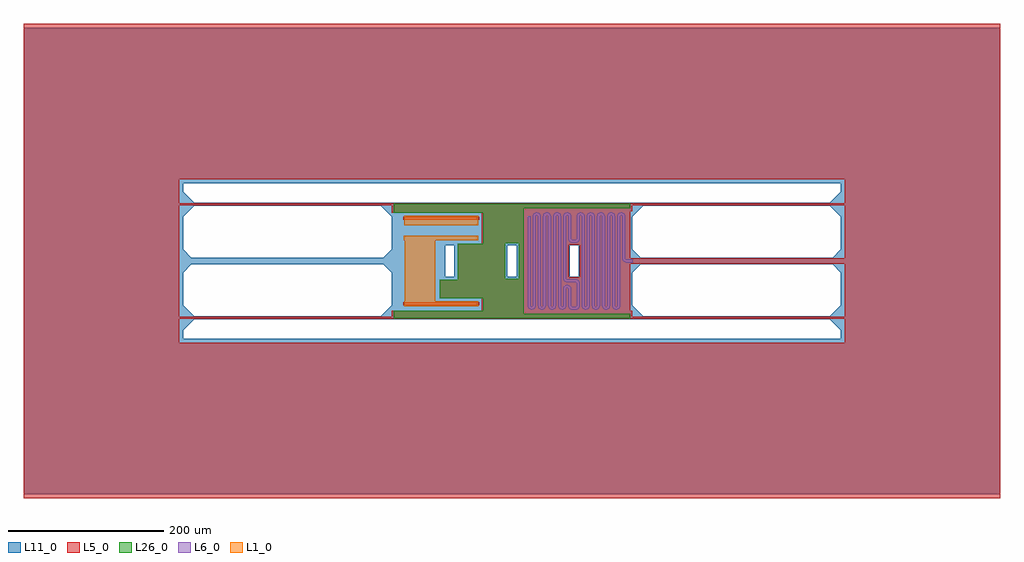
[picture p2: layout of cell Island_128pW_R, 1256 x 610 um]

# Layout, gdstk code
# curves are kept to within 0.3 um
from math import pi, radians
import gdstk
lib = gdstk.Library(unit=1e-6, precision=1e-09)
def R(c, l, rs):  # rectangles x0, y0, x1, y1
    for r in rs: c.add(gdstk.rectangle(r[:2], r[2:], *l))
def A(c, l, x, y, w, h, nx, ny, dx, dy):  # array of equal rectangles
    R(c, l, [(x+i*dx, y+j*dy, x+i*dx+w, y+j*dy+h) for i in range(nx) for j in range(ny)])
def P(c, l, *ps):  # polygons
    for p in ps: c.add(gdstk.Polygon(p, *l))
L1_0 = (1, 0)
L5_0 = (5, 0)
L6_0 = (6, 0)
L11_0 = (11, 0)
L26_0 = (26, 0)

bolo_tescell_al_1_6_at = lib.new_cell('Bolo_TEScell_Al_1_6_AT')
R(bolo_tescell_al_1_6_at, L1_0, [(43.66,-58,138.66,-52), (98.66,-52,138.16,26.5), (43.66,26.5,139.16,32.5), (43.66,46,138.66,58)])

new_res_4um = lib.new_cell('New_Res_4um')
A(new_res_4um, L6_0, -139.3, -57.5, 4, 115, 8, 1, 6.5, 0)
A(new_res_4um, L6_0, -56.8, -57.5, 4, 115, 6, 1, 6.5, 0)
R(new_res_4um, L6_0, [(-82.12,-62.75,-77.48,-58.75), (-76.3,-57.58,-72.3,-35.7), (-69.8,-57.54,-65.8,-35.71), (-87.3,-57.53,-83.3,-28.67), (-63.3,-57.48,-59.3,57.52), (-82.09,-27.49,-71.03,-23.49), (-69.8,-22.3,-65.8,57.49), (-155.5,-2,-147.1,2), (-145.8,3.36,-141.8,57.5), (-82.1,23.5,-77.5,27.5), (-87.3,28.7,-83.3,57.5), (-76.3,28.7,-72.3,57.5)])
P(new_res_4um, L6_0, [(-126.3,57.48),(-127.5,58.75),(-128.75,58.25),(-128.8,57.48),(-132.8,57.48),(-132,60.25),(-131,61.5),(-128.25,62.75),(-126.75,62.75),(-124,61.5),(-122.5,59),(-122.3,57.48)],
  [(-122.3,-57.49),(-122.25,-58.25),(-121,-58.75),(-120,-58.25),(-119.8,-57.49),(-115.8,-57.49),(-116.5,-60.25),(-117.5,-61.5),(-120.25,-62.75),(-121.75,-62.75),(-124.5,-61.5),(-126,-59),(-126.3,-57.49)],
  [(-30.8,57.48),(-32,58.75),(-33.25,58.25),(-33.3,57.48),(-37.3,57.48),(-36.5,60.25),(-35.5,61.5),(-32.75,62.75),(-31.25,62.75),(-28.5,61.5),(-27,59),(-26.8,57.48)],
  [(-26.8,-57.49),(-26.75,-58.25),(-25.5,-58.75),(-24.5,-58.25),(-24.3,-57.49),(-20.3,-57.49),(-21,-60.25),(-22,-61.5),(-24.75,-62.75),(-26.25,-62.75),(-29,-61.5),(-30.5,-59),(-30.8,-57.49)],
  [(-43.8,57.48),(-45,58.75),(-46.25,58.25),(-46.3,57.48),(-50.3,57.48),(-49.5,60.25),(-48.5,61.5),(-45.75,62.75),(-44.25,62.75),(-41.5,61.5),(-40,59),(-39.8,57.48)],
  [(-39.8,-57.49),(-39.75,-58.25),(-38.5,-58.75),(-37.5,-58.25),(-37.3,-57.49),(-33.3,-57.49),(-34,-60.25),(-35,-61.5),(-37.75,-62.75),(-39.25,-62.75),(-42,-61.5),(-43.5,-59),(-43.8,-57.49)],
  [(-139.3,57.48),(-140.5,58.75),(-141.75,58.25),(-141.8,57.48),(-145.8,57.48),(-145,60.25),(-144,61.5),(-141.25,62.75),(-139.75,62.75),(-137,61.5),(-135.5,59),(-135.3,57.48)],
  [(-135.3,-57.49),(-135.25,-58.25),(-134,-58.75),(-133,-58.25),(-132.8,-57.49),(-128.8,-57.49),(-129.5,-60.25),(-130.5,-61.5),(-133.25,-62.75),(-134.75,-62.75),(-137.5,-61.5),(-139,-59),(-139.3,-57.49)],
  [(-100.3,57.48),(-101.5,58.75),(-102.75,58.25),(-102.8,57.48),(-106.8,57.48),(-106,60.25),(-105,61.5),(-102.25,62.75),(-100.75,62.75),(-98,61.5),(-96.5,59),(-96.3,57.48)],
  [(-96.3,-57.49),(-96.25,-58.25),(-95,-58.75),(-94,-58.25),(-93.8,-57.49),(-89.8,-57.49),(-90.5,-60.25),(-91.5,-61.5),(-94.25,-62.75),(-95.75,-62.75),(-98.5,-61.5),(-100,-59),(-100.3,-57.49)],
  [(-56.8,57.48),(-58,58.75),(-59.25,58.25),(-59.3,57.48),(-63.3,57.48),(-62.5,60.25),(-61.5,61.5),(-58.75,62.75),(-57.25,62.75),(-54.5,61.5),(-53,59),(-52.8,57.48)],
  [(-52.8,-57.49),(-52.75,-58.25),(-51.5,-58.75),(-50.5,-58.25),(-50.3,-57.49),(-46.3,-57.49),(-47,-60.25),(-48,-61.5),(-50.75,-62.75),(-52.25,-62.75),(-55,-61.5),(-56.5,-59),(-56.8,-57.49)],
  [(-113.3,57.48),(-114.5,58.75),(-115.75,58.25),(-115.8,57.48),(-119.8,57.48),(-119,60.25),(-118,61.5),(-115.25,62.75),(-113.75,62.75),(-111,61.5),(-109.5,59),(-109.3,57.48)],
  [(-109.3,-57.49),(-109.25,-58.25),(-108,-58.75),(-107,-58.25),(-106.8,-57.49),(-102.8,-57.49),(-103.5,-60.25),(-104.5,-61.5),(-107.25,-62.75),(-108.75,-62.75),(-111.5,-61.5),(-113,-59),(-113.3,-57.49)],
  [(-83.3,-57.5),(-83.25,-58.25),(-82.75,-58.5),(-82.05,-58.75),(-82.05,-62.75),(-83.5,-62.5),(-84.75,-62),(-85.75,-61.25),(-86.5,-60.25),(-87.25,-58.75),(-87.3,-57.5)],
  [(-77.55,-58.76),(-77,-58.5),(-76.5,-58.25),(-76.3,-57.51),(-72.3,-57.51),(-72.5,-59),(-73,-60.25),(-73.75,-61.25),(-75,-62),(-76.25,-62.5),(-77.55,-62.76)],
  [(-83.3,28.75),(-83.25,28),(-82.75,27.75),(-82.05,27.5),(-82.05,23.5),(-83.5,23.75),(-84.75,24.25),(-85.75,25),(-86.5,26),(-87.25,27.5),(-87.3,28.75)],
  [(-77.55,27.5),(-77,27.75),(-76.5,28),(-76.3,28.75),(-72.3,28.75),(-72.5,27.5),(-73,26),(-73.75,25),(-75,24.25),(-76.25,23.75),(-77.55,23.5)],
  [(-69.8,-35.77),(-71,-34.5),(-72.25,-35),(-72.3,-35.77),(-76.3,-35.77),(-75.5,-33),(-74.5,-31.75),(-71.75,-30.5),(-70.25,-30.5),(-67.5,-31.75),(-66,-34.25),(-65.8,-35.77)],
  [(-82.05,-27.49),(-82.75,-27.75),(-83.25,-28),(-83.3,-28.74),(-87.3,-28.74),(-87.25,-27.25),(-86.5,-26),(-85.75,-25),(-84.75,-24.25),(-83.5,-23.75),(-82.05,-23.49)],
  [(-69.8,57.45),(-71,58.75),(-71.75,58.5),(-72.3,57.45),(-76.3,57.45),(-75.5,60.25),(-74.5,61.5),(-71.75,62.75),(-70.25,62.75),(-67.5,61.5),(-66,59),(-65.8,57.45)],
  [(-65.8,-57.46),(-65.25,-58.5),(-64.5,-58.75),(-63.3,-57.46),(-59.3,-57.46),(-60,-60.25),(-61,-61.5),(-63.75,-62.75),(-65.25,-62.75),(-68,-61.5),(-69.5,-59),(-69.8,-57.46)],
  [(-87.3,57.49),(-87.5,58.25),(-88.5,58.75),(-89.75,58.25),(-89.8,57.49),(-93.8,57.49),(-93,60.25),(-92,61.5),(-89.25,62.75),(-87.75,62.75),(-85,61.5),(-83.5,59),(-83.3,57.49)],
  [(-71.05,-23.49),(-70.5,-23.25),(-70,-23),(-69.8,-22.24),(-65.8,-22.24),(-66,-23.5),(-66.5,-25),(-67.25,-26),(-68.5,-26.75),(-69.75,-27.25),(-71.05,-27.49)],
  [(-147.3,-2),(-145.75,-1.75),(-144.5,-1.25),(-143.5,-0.5),(-142.5,0.75),(-142,2),(-141.8,3.5),(-145.8,3.5),(-146,2.75),(-146.5,2.25),(-147.3,2)])

heat_cap_at2 = lib.new_cell('Heat_cap_AT2')
P(heat_cap_at2, L26_0, [(-152,-73.5),(152,-73.5),(152,-64),(37,-64),(37,-48),(93,-48),(93,-24),(70,-24),(70,22),(37,22),(37,62),(152,62),(152,73.5),(-152,73.5),(-152,68),(-15,68),(-15,23),(9,23),(9,-23),(-9,-23),(-9,23),(-15,23),(-15,-68),(-152,-68)])

bolo_tescell_dual_tc_gp_ = lib.new_cell('Bolo_TEScell_dual_Tc_GP_contacts')
R(bolo_tescell_dual_tc_gp_, L5_0, [(42.16,-57,140.16,-53), (42.16,53,140.16,57)])

gp_270_g450_128pw_r = lib.new_cell('GP_270_G450_128pW_R')
P(gp_270_g450_128pw_r, L5_0, [(628,-305),(428,-305),(428,105),(-428,105),(-428,74.25),(428,74.25),(428,71.75),(155,71.75),(155,64),(152,64),(152,3.5),(428,3.5),(428,-3.5),(152,-3.5),(152,-64),(155,-64),(155,-71.75),(428,-71.75),(428,-74.25),(87,-74.25),(87,21),(73,21),(73,-21),(87,-21),(87,-74.25),(9,-74.25),(9,23),(-9,23),(-9,-23),(9,-23),(9,-74.25),(-39,-74.25),(-39,-48),(-93,-48),(-93,-24),(-70,-24),(-70,22),(-39,22),(-39,62),(-155,62),(-155,71.75),(-428,71.75),(-428,-71.75),(-155,-71.75),(-155,-64),(-39,-64),(-39,-74.25),(-428,-74.25),(-428,-105),(428,-105),(428,-305),(-628,-305),(-628,305),(628,305)])
gp_270_g450_128pw_r.add(gdstk.Reference(bolo_tescell_dual_tc_gp_, (0,0), rotation=pi, x_reflection=True))

fsn_270_g450_128pw = lib.new_cell('FSN_270_G450_128pW')
P(fsn_270_g450_128pw, L11_0, [(-628,-300),(-423,-300),(-423,100),(423,100),(423,89),(409,75),(-409,75),(-423,89),(-423,57),(-409,71),(-169,71),(-155,57),(-155,15),(-165.5,4.5),(-412.5,4.5),(-423,15),(-423,-15),(-412.5,-4.5),(-165.5,-4.5),(-155,-15),(-155,-57),(-169,-71),(-409,-71),(-423,-57),(-423,-89),(-409,-75),(-86,-75),(-86,20),(-74,20),(-74,-20),(-86,-20),(-86,-75),(-6,-75),(-6,20),(6,20),(6,-20),(-6,-20),(-6,-75),(74,-75),(74,20),(86,20),(86,-20),(74,-20),(74,-75),(155,-75),(155,57),(169,71),(409,71),(423,57),(423,15),(412.5,4.5),(165.5,4.5),(155,15),(155,-15),(165.5,-4.5),(412.5,-4.5),(423,-15),(423,-57),(409,-71),(169,-71),(155,-57),(155,-75),(409,-75),(423,-89),(423,-100),(-423,-100),(-423,-300),(628,-300),(628,300),(-628,300)])

island_128pw_r = lib.new_cell('Island_128pW_R')
island_128pw_r.add(gdstk.Reference(bolo_tescell_al_1_6_at, (0,0), rotation=pi, x_reflection=True))
island_128pw_r.add(gdstk.Reference(new_res_4um, (0,0), rotation=pi, x_reflection=True))
island_128pw_r.add(gdstk.Reference(heat_cap_at2, (0,0), rotation=pi, x_reflection=True))
island_128pw_r.add(gdstk.Reference(gp_270_g450_128pw_r, (0,0)))
island_128pw_r.add(gdstk.Reference(fsn_270_g450_128pw, (0,0)))

lib.write_gds('Island_128pW_R.gds')
